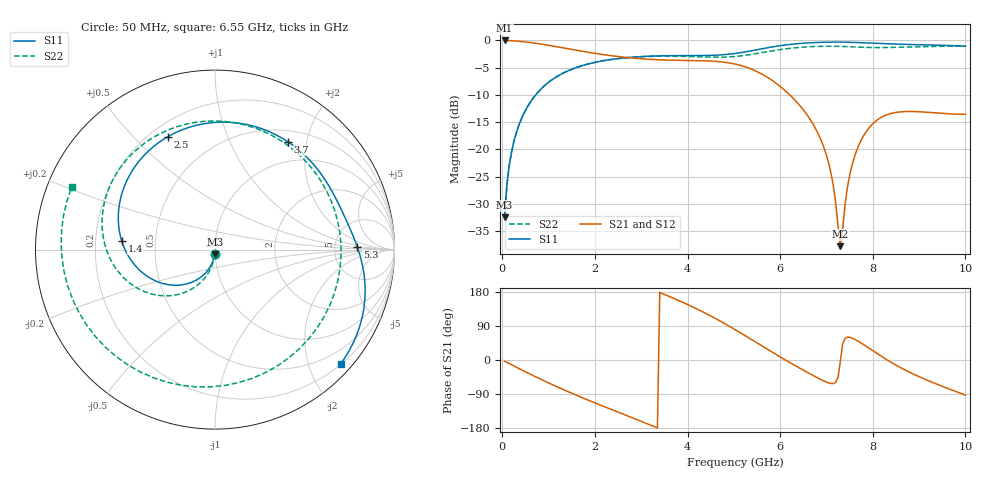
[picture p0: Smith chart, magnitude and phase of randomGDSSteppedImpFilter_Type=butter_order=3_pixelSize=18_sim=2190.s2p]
! freq	dB(S11)	phase(S11)	dB(S12)	phase(S12)
!  dB(S21)	phase(S21)	dB(S22)	phase(S22)
!S-par simulation data
#  GHz  S  DB  R 50
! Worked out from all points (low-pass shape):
!   200 points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, 50 MHz to 10 GHz, reference 50 ohm
!   highest |S21| = 0.00 dB at 50 MHz (marker M1); lowest = -37.8 dB at 7.3 GHz (marker M2)
!   |S21| within 3 dB of the highest: start of sweep to 2.548 GHz
!   lowest |S11| = -32.4 dB at 50 MHz (marker M3), VSWR 1.05, Z = 49.8 - j2.37 ohm
!   |S11| at or under -10 dB: start of sweep to 722 MHz
!   |S22| runs from -32.4 to -1.0 dB; largest |S21 - S12| = 0
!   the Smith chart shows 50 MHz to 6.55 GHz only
!   S11 on the Smith chart (normalised r, x): 50 MHz: 1.00, -0.05; 1.4 GHz: 0.31, +0.04; 2.5 GHz: 0.27, +0.63; 3.7 GHz: 0.67, +1.69; 5.3 GHz: 8.55, +0.79; 6.55 GHz: 0.21, -2.58
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0.05  -32.45 -93.7  -0.00 -3.2  -0.00 -3.2  -32.44 -92.8
0.15  -22.95 -101.2  -0.04 -9.5  -0.04 -9.5  -22.94 -98.4
0.4  -14.66 -119.1  -0.19 -25.0  -0.19 -25.0  -14.65 -111.9
1.4  -5.65 174.8  -1.50 -82.4  -1.50 -82.4  -5.64 -160.9
1.75  -4.56 154.0  -2.03 -100.6  -2.03 -100.6  -4.55 -176.5
2.5  -3.33 112.8  -2.96 -137.6  -2.96 -137.6  -3.34 150.8
3.4  -2.83 69.0  -3.56 178.2  -3.56 178.2  -2.89 106.8
3.7  -2.79 55.8  -3.64 162.7  -3.64 162.7  -2.90 89.2
4.35  -2.77 30.7  -3.74 125.7  -3.74 125.7  -3.04 41.0
5.05  -2.37 8.8  -4.38 78.6  -4.38 78.6  -2.93 -31.5
5.3  -2.02 1.2  -5.00 60.1  -5.00 60.1  -2.67 -61.6
5.8  -1.23 -15.4  -7.19 22.6  -7.19 22.6  -1.95 -121.4
6.2  -0.75 -29.7  -9.93 -6.2  -9.93 -6.2  -1.46 -166.1
6.55  -0.48 -42.2  -13.29 -30.1  -13.29 -30.1  -1.20 156.3
6.7  -0.41 -47.4  -15.22 -40.1  -15.22 -40.1  -1.13 139.9
7.1  -0.31 -61.0  -24.46 -62.0  -24.46 -62.0  -1.07 93.2
7.3  -0.31 -67.5  -37.77 -3.3  -37.77 -3.3  -1.10 67.2
7.5  -0.34 -73.8  -24.79 60.0  -24.79 60.0  -1.16 39.0
7.8  -0.44 -82.9  -17.52 40.7  -17.52 40.7  -1.26 -6.1
8.35  -0.64 -97.9  -13.52 -2.8  -13.52 -2.8  -1.30 -84.9
9.1  -0.79 -118.1  -13.14 -49.5  -13.14 -49.5  -1.14 -160.7
10  -1.07 -146.5  -13.55 -92.8  -13.55 -92.8  -1.02 139.5
